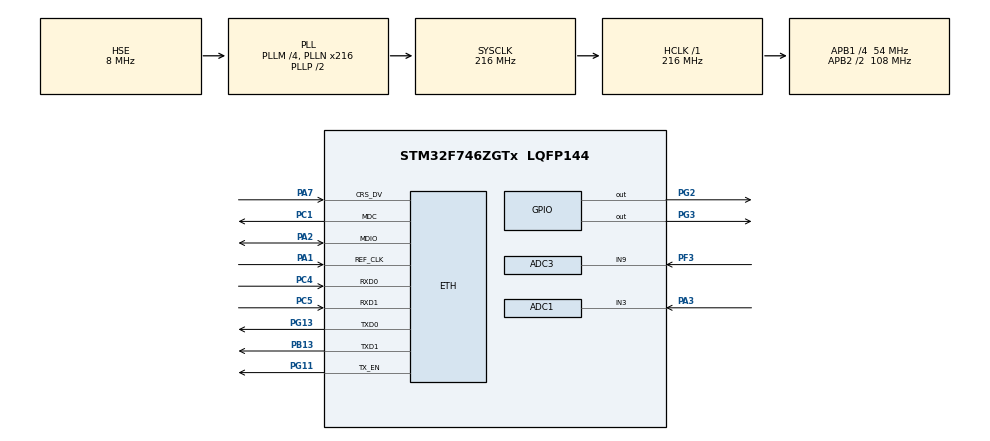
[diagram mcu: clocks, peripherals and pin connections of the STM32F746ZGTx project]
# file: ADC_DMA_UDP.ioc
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Mcu.Family=STM32F7
Dma.ADC3.0.FIFOMode=DMA_FIFOMODE_DISABLE
Dma.ADC3.0.Priority=DMA_PRIORITY_LOW
RCC.CortexFreq_Value=216000000
Dma.ADC1.1.MemDataAlignment=DMA_MDATAALIGN_HALFWORD
ADC1.ContinuousConvMode=ENABLE
PG2.Signal=GPIO_Output
PC5.Mode=RMII
PB13.Signal=ETH_TXD1
PG13.Signal=ETH_TXD0
PG11.Signal=ETH_TX_EN
RCC.SYSCLKSource=RCC_SYSCLKSOURCE_PLLCLK
ProjectManager.StackSize=0x400
PG2.GPIO_Speed=GPIO_SPEED_FREQ_VERY_HIGH
LWIP.NETMASK_ADDRESS=255.255.255.000
Dma.ADC1.1.Instance=DMA2_Stream4
PH0/OSC_IN.Mode=HSE-External-Clock-Source
RCC.HCLKFreq_Value=216000000
SH.ADCx_IN3.0=ADC1_IN3,IN3
RCC.APB2TimFreq_Value=216000000
Dma.ADC3.0.Direction=DMA_PERIPH_TO_MEMORY
Dma.ADC1.1.PeriphDataAlignment=DMA_PDATAALIGN_HALFWORD
PH1/OSC_OUT.Signal=RCC_OSC_OUT
ADC3.ScanConvMode=ADC_SCAN_DISABLE
NVIC.DMA2_Stream0_IRQn=true\:0\:0\:false\:false\:true\:false\:true
Dma.ADC3.0.MemDataAlignment=DMA_MDATAALIGN_HALFWORD
RCC.AHBFreq_Value=216000000
ADC3.SamplingTime-1\#ChannelRegularConversion=ADC_SAMPLETIME_480CYCLES
RCC.HSE_VALUE=8000000
PB3.Mode=Trace_Asynchronous_SW
Dma.ADC3.0.PeriphInc=DMA_PINC_DISABLE
ADC3.ExternalTrigConv=ADC_SOFTWARE_START
PA14.Mode=Trace_Asynchronous_SW
ADC3.ContinuousConvMode=ENABLE
Dma.ADC1.1.Priority=DMA_PRIORITY_LOW
Dma.ADC3.0.MemInc=DMA_MINC_ENABLE
Dma.ADC1.1.Mode=DMA_CIRCULAR
PG13.Mode=RMII
PF3.Signal=ADC3_IN9
PH1/OSC_OUT.Mode=HSE-External-Clock-Source
Mcu.Package=LQFP144
Dma.ADC1.1.Direction=DMA_PERIPH_TO_MEMORY
Dma.ADC1.1.MemInc=DMA_MINC_ENABLE
ADC3.ClockPrescaler=ADC_CLOCK_SYNC_PCLK_DIV4
ADC3.DMAContinuousRequests=ENABLE
RCC.APB2CLKDivider=RCC_HCLK_DIV2
Dma.Request1=ADC1
RCC.APB1TimFreq_Value=108000000
Dma.ADC3.0.Instance=DMA2_Stream0
PC5.Signal=ETH_RXD1
PB13.Mode=RMII
Dma.Request0=ADC3
PC4.Mode=RMII
LWIP.IP_ADDRESS=192.168.001.010
PA3.Signal=ADCx_IN3
ETH.AutoNegotiation=ETH_AUTONEGOTIATION_DISABLE
RCC.PLLSourceVirtual=RCC_PLLSOURCE_HSE
ADC3.DiscontinuousConvMode=DISABLE
PA7.Mode=RMII
PF3.Mode=IN9
PG3.Signal=GPIO_Output
PC4.Signal=ETH_RXD0
LWIP.LWIP_DHCP=0
RCC.APB1CLKDivider=RCC_HCLK_DIV4
ETH.PhyAddress=0
ADC3.Resolution=ADC_RESOLUTION_12B
VP_LWIP_VS_Enabled.Mode=Enabled
LWIP.GATEWAY_ADDRESS=192.168.001.001
PA13.Signal=SYS_JTMS-SWDIO
ProjectManager.TargetToolchain=STM32CubeIDE
ADC1.Channel-1\#ChannelRegularConversion=ADC_CHANNEL_3
RCC.USBFreq_Value=216000000
ADC3.NbrOfConversion=1
RCC.LSE_VALUE=32768
PA1.Signal=ETH_REF_CLK
board=custom
RCC.VCOOutputFreq_Value=432000000
PH0/OSC_IN.Signal=RCC_OSC_IN
Dma.ADC1.1.FIFOMode=DMA_FIFOMODE_DISABLE
RCC.APB2Freq_Value=108000000
PA1.Mode=RMII
Dma.ADC1.1.PeriphInc=DMA_PINC_DISABLE
ADC1.DMAContinuousRequests=ENABLE
PA13.Mode=Trace_Asynchronous_SW
Mcu.Name=STM32F746ZGTx
Dma.ADC3.0.PeriphDataAlignment=DMA_PDATAALIGN_HALFWORD
ADC3.Channel-1\#ChannelRegularConversion=ADC_CHANNEL_9
NVIC.DMA2_Stream4_IRQn=true\:0\:0\:false\:false\:true\:false\:true
PA2.Signal=ETH_MDIO
PB3.Signal=SYS_JTDO-SWO
ADC1.SamplingTime-1\#ChannelRegularConversion=ADC_SAMPLETIME_480CYCLES
RCC.SYSCLKFreq_VALUE=216000000
ETH.MediaInterface=ETH_MEDIA_INTERFACE_RMII
ADC1.master=1
ADC1.Rank-1\#ChannelRegularConversion=1
PG11.Mode=RMII
PG3.GPIO_Speed=GPIO_SPEED_FREQ_VERY_HIGH
PA14.Signal=SYS_JTCK-SWCLK
ProjectManager.HeapSize=0x200
ADC3.EOCSelection=ADC_EOC_SINGLE_CONV
LWIP.Version=v2.1.2_Cube
Dma.ADC3.0.Mode=DMA_CIRCULAR
RCC.HSI_VALUE=16000000
NVIC.PriorityGroup=NVIC_PRIORITYGROUP_4
ADC1.NbrOfConversionFlag=1
RCC.PLLM=4
RCC.PLLN=216
PA2.Mode=RMII
RCC.APB1Freq_Value=54000000
ADC3.NbrOfConversionFlag=1
PC1.Signal=ETH_MDC
PC1.Mode=RMII
PA7.Signal=ETH_CRS_DV

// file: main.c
/* USER CODE BEGIN Header */
/**
  ******************************************************************************
  * @file           : main.c
  * @brief          : Main program body
  ******************************************************************************
  * @attention
  *
  * <h2><center>&copy; Copyright (c) 2021 STMicroelectronics.
  * All rights reserved.</center></h2>
  *
  * This software component is licensed by ST under BSD 3-Clause license,
  * the "License"; You may not use this file except in compliance with the
  * License. You may obtain a copy of the License at:
  *                        opensource.org/licenses/BSD-3-Clause
  *
  ******************************************************************************
  */
/* USER CODE END Header */
#include "main.h"
#include "adc.h"
#include "dma.h"
#include "lwip.h"
#include "gpio.h"

/* USER CODE BEGIN Includes */
#include <stdio.h>

/* USER CODE END Includes */

/* USER CODE BEGIN PM */
#define ADC_BUF_LEN3 256
#define ADC_BUF_LEN1 256

#define UDP_BUF_LEN3 2*ADC_BUF_LEN3
#define UDP_BUF_LEN1 2*ADC_BUF_LEN1

/* USER CODE END PM */

/* USER CODE BEGIN PV */
uint16_t pData3[ADC_BUF_LEN3];
uint16_t pData1[ADC_BUF_LEN1];

uint16_t i=0;
uint8_t data3[UDP_BUF_LEN3+2];
uint8_t data1[UDP_BUF_LEN1+2];
uint8_t dataH1[UDP_BUF_LEN1];
uint8_t dataH2[UDP_BUF_LEN1];

uint8_t AdcDmaFlagC=0;
uint8_t AdcDmaFlagH=0;
uint8_t AdcDmaFlagC3=0;
uint8_t AdcDmaFlagH3=0;
uint8_t AdcDmaFlagC1=0;
uint8_t AdcDmaFlagH1=0;
uint8_t AdcDmaFlagS3=0;
uint8_t AdcDmaFlagS1=0;
uint32_t count1=0,count3=0;

struct udp_pcb* upcb;
struct pbuf *p;

/* USER CODE END PV */

void SystemClock_Config(void);

int main(void)
{

  /* MCU Configuration--------------------------------------------------------*/

  /* Reset of all peripherals, Initializes the Flash interface and the Systick. */
  HAL_Init();

  /* Configure the system clock */
  SystemClock_Config();

  /* Initialize all configured peripherals */
  MX_GPIO_Init();
  MX_DMA_Init();
  MX_ADC3_Init();
  MX_LWIP_Init();
  MX_ADC1_Init();
  /* USER CODE BEGIN 2 */
//HAL_TIM_Base_Start(&htim6);
  HAL_ADC_Start_DMA(&hadc3,(uint32_t *)pData3,ADC_BUF_LEN3);
  HAL_ADC_Start_DMA(&hadc1,(uint32_t *)pData1,ADC_BUF_LEN1);
  data3[0]=33;
  data3[1]=33;
  data1[0]=11;
  data1[1]=11;
  /* USER CODE END 2 */

  /* Infinite loop */
  /* USER CODE BEGIN WHILE */
  while (1)
  {

  }
  /* USER CODE END 3 */
}

void SystemClock_Config(void)
{
  RCC_OscInitTypeDef RCC_OscInitStruct = {0};
  RCC_ClkInitTypeDef RCC_ClkInitStruct = {0};

  /** Configure the main internal regulator output voltage
  */
  __HAL_RCC_PWR_CLK_ENABLE();
  __HAL_PWR_VOLTAGESCALING_CONFIG(PWR_REGULATOR_VOLTAGE_SCALE1);
  /** Initializes the RCC Oscillators according to the specified parameters
  * in the RCC_OscInitTypeDef structure.
  */
  RCC_OscInitStruct.OscillatorType = RCC_OSCILLATORTYPE_HSE;
  RCC_OscInitStruct.HSEState = RCC_HSE_BYPASS;
  RCC_OscInitStruct.PLL.PLLState = RCC_PLL_ON;
  RCC_OscInitStruct.PLL.PLLSource = RCC_PLLSOURCE_HSE;
  RCC_OscInitStruct.PLL.PLLM = 4;
  RCC_OscInitStruct.PLL.PLLN = 216;
  RCC_OscInitStruct.PLL.PLLP = RCC_PLLP_DIV2;
  RCC_OscInitStruct.PLL.PLLQ = 2;
  if (HAL_RCC_OscConfig(&RCC_OscInitStruct) != HAL_OK)
  {
    Error_Handler();
  }
  /** Activate the Over-Drive mode
  */
  if (HAL_PWREx_EnableOverDrive() != HAL_OK)
  {
    Error_Handler();
  }
  /** Initializes the CPU, AHB and APB buses clocks
  */
  RCC_ClkInitStruct.ClockType = RCC_CLOCKTYPE_HCLK|RCC_CLOCKTYPE_SYSCLK
                              |RCC_CLOCKTYPE_PCLK1|RCC_CLOCKTYPE_PCLK2;
  RCC_ClkInitStruct.SYSCLKSource = RCC_SYSCLKSOURCE_PLLCLK;
  RCC_ClkInitStruct.AHBCLKDivider = RCC_SYSCLK_DIV1;
  RCC_ClkInitStruct.APB1CLKDivider = RCC_HCLK_DIV4;
  RCC_ClkInitStruct.APB2CLKDivider = RCC_HCLK_DIV2;

  if (HAL_RCC_ClockConfig(&RCC_ClkInitStruct, FLASH_LATENCY_7) != HAL_OK)
  {
    Error_Handler();
  }
}

/* USER CODE BEGIN 4 */

void HAL_ADC_ConvHalfCpltCallback(ADC_HandleTypeDef* hadc)
{

	if(hadc->Instance==ADC3){
	  for(uint16_t j=0;j<=ADC_BUF_LEN3/2;j++){
		 data3[2*j+2]  = pData3[j] & 0xff ;
		 data3[2*j+1+2]=(pData3[j] >> 8);
				}
	//AdcDmaFlagS3++;
	}

	if(hadc->Instance==ADC1){
		for(uint16_t j=0;j<=ADC_BUF_LEN1/2;j++){
			 data1[2*j+2]  = pData1[j] & 0xff;
			 data1[2*j+1+2]=(pData1[j] >> 8);
		}
	//AdcDmaFlagS1++;
	}
}

void HAL_ADC_ConvCpltCallback(ADC_HandleTypeDef *hadc)
{
		if(hadc->Instance==ADC3){
	        HAL_GPIO_WritePin(GPIOG, GPIO_PIN_3,SET);

			for(uint16_t j=0;j<ADC_BUF_LEN3/2;j++){
				 data3[2*j+ADC_BUF_LEN3+2]  = pData3[j+ADC_BUF_LEN3/2] & 0xff;
				 data3[2*j+ADC_BUF_LEN3+1+2]=(pData3[j+ADC_BUF_LEN3/2] >> 8);
		    	}
	        AdcDmaFlagS3++;
	        MX_LWIP_Process();
	        p = pbuf_alloc(PBUF_TRANSPORT,UDP_BUF_LEN3+2, PBUF_POOL);
			pbuf_take(p, (char*)data3, UDP_BUF_LEN3+2);
			udp_send(upcb,p);
			AdcDmaFlagS3=0;
			pbuf_free(p);
	        HAL_GPIO_WritePin(GPIOG, GPIO_PIN_3,RESET);
			}

		if(hadc->Instance==ADC1){
	        HAL_GPIO_WritePin(GPIOG, GPIO_PIN_2,SET);
		  for(uint16_t j=0;j<ADC_BUF_LEN1/2;j++){
			 data1[2*j+ADC_BUF_LEN1+2]  = pData1[j+ADC_BUF_LEN1/2] & 0xff;
			 data1[2*j+ADC_BUF_LEN1+1+2]=(pData1[j+ADC_BUF_LEN1/2] >> 8);
			}
		    AdcDmaFlagS1++;
	        MX_LWIP_Process();
	        p = pbuf_alloc(PBUF_TRANSPORT,UDP_BUF_LEN1+2, PBUF_POOL);
			pbuf_take(p, (char*)data1, UDP_BUF_LEN1+2);
			udp_send(upcb,p);
			AdcDmaFlagS1=0;
			pbuf_free(p);
	        HAL_GPIO_WritePin(GPIOG, GPIO_PIN_2,RESET);

			}
}
/* USER CODE END 4 */

void Error_Handler(void)
{
  __disable_irq();
  while (1)
  {
  }
}

/************************ (C) COPYRIGHT STMicroelectronics *****END OF FILE****/
